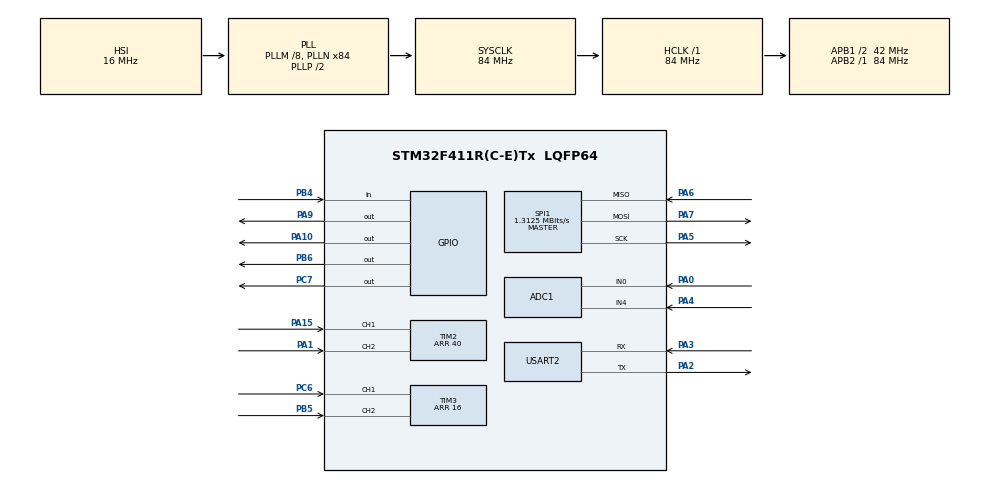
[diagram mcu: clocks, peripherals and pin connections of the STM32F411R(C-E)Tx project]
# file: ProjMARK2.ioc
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ADC1.Channel-4\#ChannelRegularConversion=ADC_CHANNEL_0
ADC1.Channel-5\#ChannelRegularConversion=ADC_CHANNEL_4
ADC1.ClockPrescaler=ADC_CLOCK_SYNC_PCLK_DIV8
ADC1.ContinuousConvMode=ENABLE
ADC1.DMAContinuousRequests=ENABLE
ADC1.EOCSelection=ADC_EOC_SEQ_CONV
ADC1.NbrOfConversion=2
ADC1.NbrOfConversionFlag=1
ADC1.Rank-4\#ChannelRegularConversion=1
ADC1.Rank-5\#ChannelRegularConversion=2
ADC1.SamplingTime-4\#ChannelRegularConversion=ADC_SAMPLETIME_15CYCLES
ADC1.SamplingTime-5\#ChannelRegularConversion=ADC_SAMPLETIME_15CYCLES
ADC1.ScanConvMode=ENABLE
ADC1.master=1
Dma.ADC1.0.Direction=DMA_PERIPH_TO_MEMORY
Dma.ADC1.0.FIFOMode=DMA_FIFOMODE_DISABLE
Dma.ADC1.0.Instance=DMA2_Stream0
Dma.ADC1.0.MemDataAlignment=DMA_MDATAALIGN_WORD
Dma.ADC1.0.MemInc=DMA_MINC_ENABLE
Dma.ADC1.0.Mode=DMA_CIRCULAR
Dma.ADC1.0.PeriphDataAlignment=DMA_PDATAALIGN_WORD
Dma.ADC1.0.PeriphInc=DMA_PINC_DISABLE
Dma.ADC1.0.Priority=DMA_PRIORITY_LOW
Dma.Request0=ADC1
Mcu.Family=STM32F4
Mcu.Name=STM32F411R(C-E)Tx
Mcu.Package=LQFP64
NVIC.DMA2_Stream0_IRQn=true\:1\:0\:true\:false\:true\:false\:true
NVIC.PriorityGroup=NVIC_PRIORITYGROUP_2
PA0-WKUP.Signal=ADCx_IN0
PA1.Signal=S_TIM2_CH2
PA10.Signal=GPIO_Output
PA15.Signal=S_TIM2_CH1_ETR
PA2.Mode=Asynchronous
PA2.Signal=USART2_TX
PA3.Mode=Asynchronous
PA3.Signal=USART2_RX
PA4.Signal=ADCx_IN4
PA5.Mode=Full_Duplex_Master
PA5.Signal=SPI1_SCK
PA6.Mode=Full_Duplex_Master
PA6.Signal=SPI1_MISO
PA7.Mode=Full_Duplex_Master
PA7.Signal=SPI1_MOSI
PA9.Signal=GPIO_Output
PB4.Signal=GPIO_Input
PB5.Signal=S_TIM3_CH2
PB6.Signal=GPIO_Output
PC6.Signal=S_TIM3_CH1
PC7.Signal=GPIO_Output
ProjectManager.HeapSize=0x200
ProjectManager.StackSize=0x400
ProjectManager.TargetToolchain=MDK-ARM V5.27
RCC.48MHZClocksFreq_Value=42000000
RCC.AHBFreq_Value=84000000
RCC.APB1CLKDivider=RCC_HCLK_DIV2
RCC.APB1Freq_Value=42000000
RCC.APB1TimFreq_Value=84000000
RCC.APB2Freq_Value=84000000
RCC.APB2TimFreq_Value=84000000
RCC.CortexFreq_Value=84000000
RCC.HCLKFreq_Value=84000000
RCC.HSE_VALUE=25000000
RCC.HSI_VALUE=16000000
RCC.LSE_VALUE=32768
RCC.PLLM=8
RCC.PLLN=84
RCC.SYSCLKFreq_VALUE=84000000
RCC.SYSCLKSource=RCC_SYSCLKSOURCE_PLLCLK
RCC.VCOOutputFreq_Value=168000000
SH.ADCx_IN0.0=ADC1_IN0,IN0
SH.ADCx_IN4.0=ADC1_IN4,IN4
SH.S_TIM2_CH1_ETR.0=TIM2_CH1,Encoder_Interface
SH.S_TIM2_CH2.0=TIM2_CH2,Encoder_Interface
SH.S_TIM3_CH1.0=TIM3_CH1,Encoder_Interface
SH.S_TIM3_CH2.0=TIM3_CH2,Encoder_Interface
SPI1.BaudRatePrescaler=SPI_BAUDRATEPRESCALER_64
SPI1.CalculateBaudRate=1.3125 MBits/s
SPI1.Direction=SPI_DIRECTION_2LINES
SPI1.Mode=SPI_MODE_MASTER
SPI1.VirtualType=VM_MASTER
TIM2.IC1Filter=10
TIM2.IC2Filter=10
TIM2.Period=40
TIM3.IC1Filter=10
TIM3.IC2Filter=10
TIM3.Period=16
USART2.VirtualMode=VM_ASYNC
board=custom

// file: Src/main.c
/* USER CODE BEGIN Header */
/**
  ******************************************************************************
  * @file           : main.c
  * @brief          : Main program body
  ******************************************************************************
  * @attention
  *
  * <h2><center>&copy; Copyright (c) 2020 STMicroelectronics.
  * All rights reserved.</center></h2>
  *
  * This software component is licensed by ST under BSD 3-Clause license,
  * the "License"; You may not use this file except in compliance with the
  * License. You may obtain a copy of the License at:
  *                        opensource.org/licenses/BSD-3-Clause
  *
  ******************************************************************************
  */
/* USER CODE END Header */

#include "main.h"
#include "adc.h"
#include "dma.h"
#include "spi.h"
#include "tim.h"
#include "usart.h"
#include "gpio.h"

/* USER CODE BEGIN Includes */
#include "stm32f4xx_hal.h"
#include <string.h>
#include <stdarg.h>
#include "ili9341.h"
#include "fonts.h"
#include "testimg.h"
#include "stdio.h"
/* USER CODE END Includes */

/* USER CODE BEGIN PV */
uint16_t xx = 1;
uint16_t yy = 81;
uint32_t adc_val[800];
char coordinateText[20];
/* USER CODE END PV */

void SystemClock_Config(void);

/* USER CODE BEGIN 0 */
void UART_Printf(const char* fmt, ...) {
    char buff[256];
    va_list args;
    va_start(args, fmt);
    vsnprintf(buff, sizeof(buff), fmt, args);
    HAL_UART_Transmit(&huart2, (uint8_t*)buff, strlen(buff),
                      HAL_MAX_DELAY);
    va_end(args);
}

void init() {
    ILI9341_Unselect();
    ILI9341_Init();
}
void start(){
		ILI9341_FillScreen(ILI9341_BLACK);
		for(int x = 0; x < ILI9341_WIDTH; x++) {
					ILI9341_DrawPixel(x, 80, ILI9341_WHITE);
					ILI9341_DrawPixel(x, ILI9341_HEIGHT-1, ILI9341_WHITE);
			}
		for(int y = 80; y < ILI9341_HEIGHT; y++) {
				ILI9341_DrawPixel(0, y, ILI9341_WHITE);
				ILI9341_DrawPixel(ILI9341_WIDTH-1, y, ILI9341_WHITE);
		}
}
void loop() {
    if(HAL_SPI_DeInit(&hspi1) != HAL_OK) {
        UART_Printf("HAL_SPI_DeInit failed!\r\n");
        return;
    }

    hspi1.Init.BaudRatePrescaler = SPI_BAUDRATEPRESCALER_2;

    if(HAL_SPI_Init(&hspi1) != HAL_OK) {
        UART_Printf("HAL_SPI_Init failed!\r\n");
        return;
    }

    // Check border
    ILI9341_FillScreen(ILI9341_BLACK);

    for(int x = 0; x < ILI9341_WIDTH; x++) {
        ILI9341_DrawPixel(x, 0, ILI9341_RED);
        ILI9341_DrawPixel(x, ILI9341_HEIGHT-1, ILI9341_RED);
    }

    for(int y = 0; y < ILI9341_HEIGHT; y++) {
        ILI9341_DrawPixel(0, y, ILI9341_RED);
        ILI9341_DrawPixel(ILI9341_WIDTH-1, y, ILI9341_RED);
    }

    HAL_Delay(3000);

    // Check fonts
    ILI9341_FillScreen(ILI9341_BLACK);
    ILI9341_WriteString(0, 0, "Font_7x10, red on black, lorem ipsum dolor sit amet", Font_7x10, ILI9341_RED, ILI9341_BLACK);
    ILI9341_WriteString(0, 3*10, "Font_11x18, green, lorem ipsum dolor sit amet", Font_11x18, ILI9341_GREEN, ILI9341_BLACK);
    ILI9341_WriteString(0, 3*10+3*18, "Font_16x26, blue, lorem ipsum dolor sit amet", Font_16x26, ILI9341_BLUE, ILI9341_BLACK);

    HAL_Delay(1000);
    ILI9341_InvertColors(true);
    HAL_Delay(1000);
    ILI9341_InvertColors(false);

    HAL_Delay(5000);

    // Check colors
    ILI9341_FillScreen(ILI9341_WHITE);
    ILI9341_WriteString(0, 0, "WHITE", Font_11x18, ILI9341_BLACK, ILI9341_WHITE);
    HAL_Delay(500);

    ILI9341_FillScreen(ILI9341_BLUE);
    ILI9341_WriteString(0, 0, "BLUE", Font_11x18, ILI9341_BLACK, ILI9341_BLUE);
    HAL_Delay(500);

    ILI9341_FillScreen(ILI9341_RED);
    ILI9341_WriteString(0, 0, "RED", Font_11x18, ILI9341_BLACK, ILI9341_RED);
    HAL_Delay(500);

    ILI9341_FillScreen(ILI9341_GREEN);
    ILI9341_WriteString(0, 0, "GREEN", Font_11x18, ILI9341_BLACK, ILI9341_GREEN);
    HAL_Delay(500);

    ILI9341_FillScreen(ILI9341_CYAN);
    ILI9341_WriteString(0, 0, "CYAN", Font_11x18, ILI9341_BLACK, ILI9341_CYAN);
    HAL_Delay(500);

    ILI9341_FillScreen(ILI9341_MAGENTA);
    ILI9341_WriteString(0, 0, "MAGENTA", Font_11x18, ILI9341_BLACK, ILI9341_MAGENTA);
    HAL_Delay(500);

    ILI9341_FillScreen(ILI9341_YELLOW);
    ILI9341_WriteString(0, 0, "YELLOW", Font_11x18, ILI9341_BLACK, ILI9341_YELLOW);
    HAL_Delay(500);

    ILI9341_FillScreen(ILI9341_BLACK);
    ILI9341_WriteString(0, 0, "BLACK", Font_11x18, ILI9341_WHITE, ILI9341_BLACK);
    HAL_Delay(500);

    ILI9341_DrawImage((ILI9341_WIDTH - 240) / 2, (ILI9341_HEIGHT - 240) / 2, 240, 240, (const uint16_t*)test_img_240x240);

    HAL_Delay(1000);

}
/* USER CODE END 0 */

int main(void)
{

  /* MCU Configuration--------------------------------------------------------*/

  /* Reset of all peripherals, Initializes the Flash interface and the Systick. */
  HAL_Init();

  /* Configure the system clock */
  SystemClock_Config();

  /* Initialize all configured peripherals */
  MX_GPIO_Init();
  MX_SPI1_Init();
  MX_TIM2_Init();
  MX_TIM3_Init();
  MX_USART2_UART_Init();
  MX_DMA_Init();
  MX_ADC1_Init();

  /* Infinite loop */
  /* USER CODE BEGIN WHILE */

	HAL_TIM_Encoder_Start(&htim2, TIM_CHANNEL_ALL);
	HAL_TIM_Encoder_Start(&htim3, TIM_CHANNEL_ALL);
	int val = 0, val2;
	int beforeSize = 0, status;
	char penSize[20], color[20];
	init();
	start();
	HAL_ADC_Start_DMA(&hadc1, adc_val, 800);
  while (1)
  {
		beforeSize = val;
		val = TIM2->CNT>>2;
		val2 = TIM3->CNT>>2;
		if(beforeSize == val)
			status = 1;
		else
			status = 0;
		sprintf(penSize, "penSize : %02d", val);
		if(val2 == 0){
			sprintf(color, "color : Black");
		}else if(val2 == 1 || val2 == 2){
			sprintf(color, "color :   Red");
		}else if(val2 == 3 || val2 == 4){
			sprintf(color, "color : White");
		}
		ILI9341_WriteString(10, 30, penSize, Font_11x18, ILI9341_RED, ILI9341_BLACK);
		ILI9341_WriteString(10, 50, color, Font_11x18, ILI9341_RED, ILI9341_BLACK);
		sprintf(coordinateText, "x : %03d y : %03d", xx, yy);
		ILI9341_WriteString(10, 10, coordinateText, Font_11x18, ILI9341_RED, ILI9341_BLACK);

		if(adc_val[0] > 2200){
			if(xx < 238 - val * 2)
				xx +=2;
		}else if(adc_val[0] < 1900){
			if(xx > 1)
				xx-=2;
		}
		if(adc_val[1] > 2200){
			if(yy < 318 - val * 2)
				yy+=2;
		}else if(adc_val[1] < 1900){
			if(yy > 81)
				yy-=2;
		}
		//HAL_Delay(50);
		if(status == 0){
			ILI9341_FillRectangle(xx, yy, beforeSize*2, beforeSize*2, ILI9341_BLACK);
		}
		ILI9341_FillRectangle(xx, yy, val*2, val*2, ILI9341_BLUE);

    /* USER CODE END WHILE */

  }
}

void SystemClock_Config(void)
{
  RCC_OscInitTypeDef RCC_OscInitStruct = {0};
  RCC_ClkInitTypeDef RCC_ClkInitStruct = {0};

  /** Configure the main internal regulator output voltage
  */
  __HAL_RCC_PWR_CLK_ENABLE();
  __HAL_PWR_VOLTAGESCALING_CONFIG(PWR_REGULATOR_VOLTAGE_SCALE1);
  /** Initializes the CPU, AHB and APB busses clocks
  */
  RCC_OscInitStruct.OscillatorType = RCC_OSCILLATORTYPE_HSI;
  RCC_OscInitStruct.HSIState = RCC_HSI_ON;
  RCC_OscInitStruct.HSICalibrationValue = RCC_HSICALIBRATION_DEFAULT;
  RCC_OscInitStruct.PLL.PLLState = RCC_PLL_ON;
  RCC_OscInitStruct.PLL.PLLSource = RCC_PLLSOURCE_HSI;
  RCC_OscInitStruct.PLL.PLLM = 8;
  RCC_OscInitStruct.PLL.PLLN = 84;
  RCC_OscInitStruct.PLL.PLLP = RCC_PLLP_DIV2;
  RCC_OscInitStruct.PLL.PLLQ = 4;
  if (HAL_RCC_OscConfig(&RCC_OscInitStruct) != HAL_OK)
  {
    Error_Handler();
  }
  /** Initializes the CPU, AHB and APB busses clocks
  */
  RCC_ClkInitStruct.ClockType = RCC_CLOCKTYPE_HCLK|RCC_CLOCKTYPE_SYSCLK
                              |RCC_CLOCKTYPE_PCLK1|RCC_CLOCKTYPE_PCLK2;
  RCC_ClkInitStruct.SYSCLKSource = RCC_SYSCLKSOURCE_PLLCLK;
  RCC_ClkInitStruct.AHBCLKDivider = RCC_SYSCLK_DIV1;
  RCC_ClkInitStruct.APB1CLKDivider = RCC_HCLK_DIV2;
  RCC_ClkInitStruct.APB2CLKDivider = RCC_HCLK_DIV1;

  if (HAL_RCC_ClockConfig(&RCC_ClkInitStruct, FLASH_LATENCY_2) != HAL_OK)
  {
    Error_Handler();
  }
}

/* USER CODE BEGIN 4 */
void HAL_ADC_ConvCpltCallback(ADC_HandleTypeDef* hdma_adc1){

}
/* USER CODE END 4 */

void Error_Handler(void)
{
}

/************************ (C) COPYRIGHT STMicroelectronics *****END OF FILE****/
